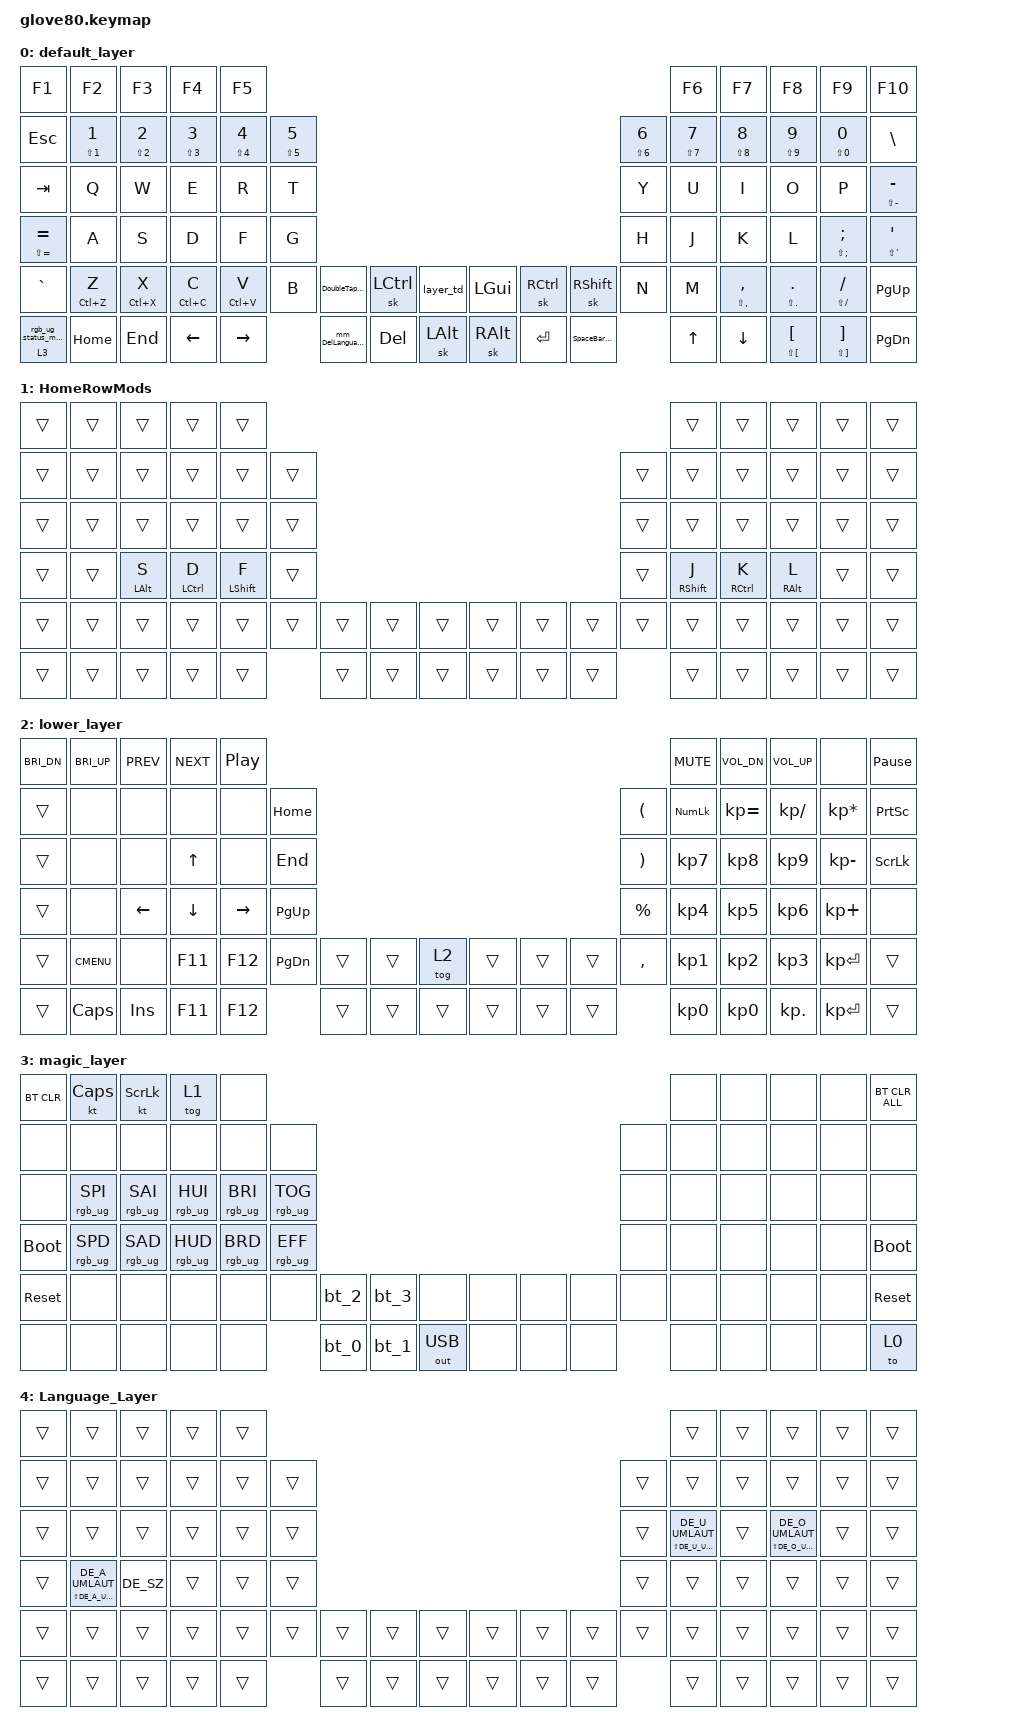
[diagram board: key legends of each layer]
/*
 * Copyright (c) 2020 The ZMK Contributors
 *
 * SPDX-License-Identifier: MIT
 */

#include <dt-bindings/zmk/rgb_colors.h>
#include <behaviors/unicode.dtsi>
#include <behaviors.dtsi>
#include <dt-bindings/zmk/bt.h>
#include <dt-bindings/zmk/keys.h>
#include <dt-bindings/zmk/outputs.h>
#include <dt-bindings/zmk/rgb.h>
#include "keys_de.h"

#define HYPER LC(LS(LG(LALT)))

&uc {
    default-mode = <UC_MODE_WIN_COMPOSE>;  // Replace with desired input system.
};

// layers

#define DEFAULT 0
#define HRM 1
#define LOWER 2
#define MAGIC 3
#define LANGUAGE 4

/* To deal with the situation where there is no Lower layer, to keep &lower happy */

#ifndef LAYER_Lower

#define LAYER_Lower 0

#endif

/* Custom Device-tree */
/* Empty underglow layer definition (for copy-paste)
        mylayer {
            bindings = <
                &ug ___ &ug ___ &ug ___ &ug ___ &ug ___                                                                  &ug ___ &ug ___ &ug ___ &ug ___ &ug ___
                &ug ___ &ug ___ &ug ___ &ug ___ &ug ___ &ug ___                                                  &ug ___ &ug ___ &ug ___ &ug ___ &ug ___ &ug ___
                &ug ___ &ug ___ &ug ___ &ug ___ &ug ___ &ug ___                                                  &ug ___ &ug ___ &ug ___ &ug ___ &ug ___ &ug ___
                &ug ___ &ug ___ &ug ___ &ug ___ &ug ___ &ug ___                                                  &ug ___ &ug ___ &ug ___ &ug ___ &ug ___ &ug ___
                &ug ___ &ug ___ &ug ___ &ug ___ &ug ___ &ug ___ &ug ___ &ug ___ &ug ___  &ug ___ &ug ___ &ug ___ &ug ___ &ug ___ &ug ___ &ug ___ &ug ___ &ug ___
                &ug ___ &ug ___ &ug ___ &ug ___ &ug ___         &ug ___ &ug ___ &ug ___  &ug ___ &ug ___ &ug ___         &ug ___ &ug ___ &ug ___ &ug ___ &ug ___
                >;
            layer-id = <LAYER_Name>;
        };
*/

#define LBAT &uglowbat 0x800000 BLACK // #800000
#define BAT1 &ug_b2 BLACK 0x804d00 // #808000
#define BAT2 &ug_b4 BLACK 0x808000 // #804d00
#define BAT3 &ug_b6 BLACK 0x008000 // #008000
#define BAT4 &ug_b8 BLACK 0xafafaf // #afafaf
#define CAPSL &ug_cl ___ TEAL
#define NUMI  &ug_nl WHITE ORANGE
#define NUML  &ug_nl RED YELLOW

/ {
    underglow-layer {
        compatible = "zmk,underglow-layer";

        base {
            bindings = <
    &ug ___ &ug ___ &ug ___  &ug ___  &ug ___                                                                &ug ___  &ug ___  &ug ___  &ug ___  &ug ___
    &ug ___ CAPSL   CAPSL    CAPSL    CAPSL    CAPSL                                                  CAPSL  CAPSL    CAPSL    CAPSL    CAPSL    &ug ___
    &ug ___ CAPSL   CAPSL    CAPSL    CAPSL    CAPSL                                                  CAPSL  CAPSL    CAPSL    CAPSL    &ug ___  &ug ___
    &ug ___ CAPSL   CAPSL    CAPSL    CAPSL    CAPSL                                                  CAPSL  CAPSL    CAPSL    CAPSL    CAPSL    &ug ___
    &ug ___ CAPSL   CAPSL    CAPSL    CAPSL    CAPSL &ug ___ &ug ___ &ug ___  &ug ___ &ug ___ &ug ___ CAPSL  CAPSL    &ug ___  &ug ___  &ug ___  &ug ___
    LBAT    &ug ___ &ug ___  &ug ___  &ug ___        &ug ___ &ug ___ &ug ___  &ug ___ &ug ___ &ug ___        &ug ___  &ug ___  &ug ___  &ug ___  LBAT
            >;

            layer-id = <DEFAULT>;
        };

        hrm {
            bindings = <
                &ug BLUE &ug ___ &ug ___ &ug ___ &ug ___                                                                  &ug ___ &ug ___ &ug ___ &ug ___ &ug ___
                &ug ___ &ug ___ &ug ___ &ug ___ &ug ___ &ug ___                                                  &ug ___ &ug ___ &ug ___ &ug ___ &ug ___ &ug ___
                &ug ___ &ug ___ &ug ___ &ug ___ &ug ___ &ug ___                                                  &ug ___ &ug ___ &ug ___ &ug ___ &ug ___ &ug ___
                &ug ___ &ug ___ &ug ___ &ug ___ &ug ___ &ug ___                                                  &ug ___ &ug ___ &ug ___ &ug ___ &ug ___ &ug ___
                &ug ___ &ug ___ &ug ___ &ug ___ &ug ___ &ug ___ &ug ___ &ug ___ &ug ___  &ug ___ &ug ___ &ug ___ &ug ___ &ug ___ &ug ___ &ug ___ &ug ___ &ug ___
                &ug ___ &ug ___ &ug ___ &ug ___ &ug ___         &ug ___ &ug ___ &ug ___  &ug ___ &ug ___ &ug ___         &ug ___ &ug ___ &ug ___ &ug ___ &ug ___
            >;

            layer-id = <HRM>;
        };

        lower {
            bindings = <
    &ug ___    &ug ___  &ug ___    &ug ___    &ug ___                                                                                 &ug ___  &ug ___     &ug ___    &ug ___     &ug ___
    &ug PURPLE &ug PINK &ug PINK   &ug   PINK &ug   PINK &ug PINK                                                             &ug ___ NUMI     &ug ORANGE  &ug ORANGE &ug ORANGE  &ug RED
    &ug PURPLE &ug ___  &ug ___    &ug ORANGE &ug ___    &ug ___                                                              &ug ___ NUML     NUML        NUML       &ug ORANGE  &ug ___
    &ug PURPLE &ug ___  &ug ORANGE &ug    RED &ug ORANGE &ug ___                                                              &ug ___ NUML     NUML        NUML       &ug ORANGE  &ug ___
    &ug   BLUE &ug ___  &ug RED    &ug    RED &ug    RED &ug ___  &ug_cl BLUE TEAL &ug ___   &ug ___  &ug ___ &ug ___ &ug ___ &ug ___ NUML     NUML        NUML       &ug    RED  &ug BLUE
    &ug ___    &ug ___  &ug ORANGE &ug ORANGE &ug ORANGE          &ug ___          &ug GREEN &ug ___  &ug ___ &ug ___ &ug ___         NUML     NUML        &ug ORANGE &ug    RED  &ug ___
            >;

            layer-id = <LOWER>;
        };

        languageLayer {
            bindings = <
                &ug ___ &ug ___ &ug ___ &ug ___ &ug ___                                                                  &ug ___ &ug ___ &ug ___ &ug ___ &ug ___
                &ug ___ &ug ___ &ug ___ &ug ___ &ug ___ &ug ___                                                  &ug ___ &ug ___ &ug ___ &ug ___ &ug ___ &ug ___
                &ug ___ &ug ___ &ug ___ &ug ___ &ug ___ &ug ___                                                  &ug ___ &ug RED &ug ___ &ug RED &ug ___ &ug ___
                &ug ___ &ug RED &ug RED &ug ___ &ug ___ &ug ___                                                  &ug ___ &ug ___ &ug ___ &ug ___ &ug ___ &ug ___
                &ug ___ &ug ___ &ug ___ &ug ___ &ug ___ &ug ___ &ug ___ &ug ___ &ug ___  &ug ___ &ug ___ &ug ___ &ug ___ &ug ___ &ug ___ &ug ___ &ug ___ &ug ___
                &ug ___ &ug ___ &ug ___ &ug ___ &ug ___         &ug ___ &ug ___ &ug ___  &ug ___ &ug ___ &ug ___         &ug ___ &ug ___ &ug ___ &ug ___ &ug ___
            >;

            layer-id = <LANGUAGE>;
        };
    };
};

&sk { quick-release; };

/ {
    behaviors {
        // For the "layer" key, it'd nice to be able to use it as either a shift or a toggle.
        // Configure it as a tap dance, so the first tap (or hold) is a &mo and the second tap is a &to

        layer_td: tap_dance_0 {
            compatible = "zmk,behavior-tap-dance";
            label = "LAYER_TAP_DANCE";
            #binding-cells = <0>;
            tapping-term-ms = <350>;
            bindings = <&mo 2>, <&to 2>;
        };

        magic: magic_hold_tap {
            compatible = "zmk,behavior-hold-tap";
            label = "MAGIC_HOLD_TAP";
            #binding-cells = <2>;
            flavor = "tap-preferred";
            tapping-term-ms = <200>;
            bindings = <&mo>, <&rgb_ug_status_macro>;
        };

        DoubleTapShift: DoubleTapShift {
            compatible = "zmk,behavior-tap-dance";
            label = "DOUBLETAPSHIFT";
            #binding-cells = <0>;
            bindings = <&sk LEFT_SHIFT>, <&caps_word>, <&kt CAPSLOCK>;

            tapping-term-ms = <500>;
        };

        SpaceBarTapDance: SpaceBarTapDance {
            compatible = "zmk,behavior-tap-dance";
            label = "SPACEBARTAPDANCE";
            #binding-cells = <0>;
            bindings = <&kp SPACE>, <&double_space_period>;
        };

        ShiftHold: ShiftHold {
            compatible = "zmk,behavior-hold-tap";
            label = "SHIFTHOLD";
            bindings = <&shiftPressKey>, <&kp>;

            #binding-cells = <2>;
            tapping-term-ms = <300>;
            quick-tap-ms = <175>;
            require-prior-idle-ms = <100>;
            flavor = "balanced";
        };

        uglowbat: uglowbat {
            compatible = "zmk,behavior-underglow-battery";
            threshold = <30>;
            #binding-cells = <2>;
        };

        layerHoldTap: layerHoldTap {
            compatible = "zmk,behavior-hold-tap";
            label = "LAYERHOLDTAP";
            #binding-cells = <2>;
            flavor = "tap-preferred";
            tapping-term-ms = <200>;
            bindings = <&mo>, <&kp>;
        };

        HRM_Left: HRM_Left {
            compatible = "zmk,behavior-hold-tap";
            label = "HRM_LEFT";
            bindings = <&kp>, <&kp>;

            #binding-cells = <2>;
            flavor = "balanced";
            tapping-term-ms = <500>;
            quick-tap-ms = <175>;
            require-prior-idle-ms = <150>;
            hold-trigger-on-release;
            hold-trigger-key-positions = <58 40 28 16 17 29 5 6 7 8 9 17 18 19 20 21 29 30 31 32 33 41 42 43 44 45 59 60 61 62 63 75 76 77 55 56 72 73 74 78 79 57>;
        };

        HRM_Right: HRM_Right {
            compatible = "zmk,behavior-hold-tap";
            label = "HRM_RIGHT";
            bindings = <&kp>, <&kp>;

            #binding-cells = <2>;
            flavor = "balanced";
            tapping-term-ms = <500>;
            quick-tap-ms = <175>;
            require-prior-idle-ms = <150>;
            hold-trigger-on-release;
            hold-trigger-key-positions = <0 1 2 3 4 10 11 12 13 14 15 22 23 24 25 26 27 34 35 36 37 38 39 46 47 48 49 50 51 52 53 54 64 65 66 67 68 69 70 71>;
        };

        mm_DelLanguageLayer: mm_DelLanguageLayer {
            compatible = "zmk,behavior-mod-morph";
            label = "MM_DELLANGUAGELAYER";
            bindings = <&DeleteTD>, <&sl 4>;

            #binding-cells = <0>;
            mods = <(MOD_RSFT|MOD_RALT)>;
            keep-mods = <(MOD_RSFT)>;
        };

        DeleteTD: DeleteTD {
            compatible = "zmk,behavior-tap-dance";
            label = "DELETETD";
            #binding-cells = <0>;
            bindings = <&kp BACKSPACE>, <&kp LC(BACKSPACE)>;
        };
    };

    macros {
        rgb_ug_status_macro: rgb_ug_status_macro_0 {
            label = "RGB_UG_STATUS";
            compatible = "zmk,behavior-macro";
            #binding-cells = <0>;
            bindings = <&rgb_ug RGB_STATUS>;
        };

        bt_0: bt_profile_macro_0 {
            label = "BT_0";
            compatible = "zmk,behavior-macro";
            #binding-cells = <0>;
            bindings = <&out OUT_BLE &bt BT_SEL 0>;
        };

        bt_1: bt_profile_macro_1 {
            label = "BT_1";
            compatible = "zmk,behavior-macro";
            #binding-cells = <0>;
            bindings = <&out OUT_BLE &bt BT_SEL 1>;
        };

        bt_2: bt_profile_macro_2 {
            label = "BT_2";
            compatible = "zmk,behavior-macro";
            #binding-cells = <0>;
            bindings = <&out OUT_BLE &bt BT_SEL 2>;
        };

        bt_3: bt_profile_macro_3 {
            label = "BT_3";
            compatible = "zmk,behavior-macro";
            #binding-cells = <0>;
            bindings = <&out OUT_BLE &bt BT_SEL 3>;
        };

        double_space_period: double_space_period {
            compatible = "zmk,behavior-macro";
            #binding-cells = <0>;
            bindings = <&kp DOT &kp SPACE &sk LSHIFT>;
            label = "DOUBLE_SPACE_PERIOD";
        };

        shiftPressKey: shiftPressKey {
            compatible = "zmk,behavior-macro-one-param";
            #binding-cells = <1>;
            bindings = <&macro_param_1to1 &kp MACRO_PLACEHOLDER>;
            label = "SHIFTPRESSKEY";
        };
    };

    combos {
        compatible = "zmk,combos";

        CapLock {
            bindings = <&kt CAPSLOCK>;
            key-positions = <52 57>;
            timeout-ms = <50>;
            layers = <0>;
        };

        f11_Alt {
            bindings = <&kp F11>;
            key-positions = <8 20>;
            layers = <0>;
            timeout-ms = <50>;
        };

        f12_Alt {
            bindings = <&kp F12>;
            key-positions = <9 21>;
            timeout-ms = <50>;
            layers = <0>;
        };
    };

    /* #define for key positions */

    #define POS_LH_T1 52
#define POS_LH_T2 53
#define POS_LH_T3 54
#define POS_LH_T4 69
#define POS_LH_T5 70
#define POS_LH_T6 71
#define POS_LH_C1R2 15
#define POS_LH_C1R3 27
#define POS_LH_C1R4 39
#define POS_LH_C1R5 51
#define POS_LH_C2R1 4
#define POS_LH_C2R2 14
#define POS_LH_C2R3 26
#define POS_LH_C2R4 38
#define POS_LH_C2R5 50
#define POS_LH_C2R6 68
#define POS_LH_C3R1 3
#define POS_LH_C3R2 13
#define POS_LH_C3R3 25
#define POS_LH_C3R4 37
#define POS_LH_C3R5 49
#define POS_LH_C3R6 67
#define POS_LH_C4R1 2
#define POS_LH_C4R2 12
#define POS_LH_C4R3 24
#define POS_LH_C4R4 36
#define POS_LH_C4R5 48
#define POS_LH_C4R6 66
#define POS_LH_C5R1 1
#define POS_LH_C5R2 11
#define POS_LH_C5R3 23
#define POS_LH_C5R4 35
#define POS_LH_C5R5 47
#define POS_LH_C5R6 65
#define POS_LH_C6R1 0
#define POS_LH_C6R2 10
#define POS_LH_C6R3 22
#define POS_LH_C6R4 34
#define POS_LH_C6R5 46
#define POS_LH_C6R6 64
#define POS_RH_T1 57
#define POS_RH_T2 56
#define POS_RH_T3 55
#define POS_RH_T4 74
#define POS_RH_T5 73
#define POS_RH_T6 72
#define POS_RH_C1R2 16
#define POS_RH_C1R3 28
#define POS_RH_C1R4 40
#define POS_RH_C1R5 58
#define POS_RH_C2R1 5
#define POS_RH_C2R2 17
#define POS_RH_C2R3 29
#define POS_RH_C2R4 41
#define POS_RH_C2R5 59
#define POS_RH_C2R6 75
#define POS_RH_C3R1 6
#define POS_RH_C3R2 18
#define POS_RH_C3R3 30
#define POS_RH_C3R4 42
#define POS_RH_C3R5 60
#define POS_RH_C3R6 76
#define POS_RH_C4R1 7
#define POS_RH_C4R2 19
#define POS_RH_C4R3 31
#define POS_RH_C4R4 43
#define POS_RH_C4R5 61
#define POS_RH_C4R6 77
#define POS_RH_C5R1 8
#define POS_RH_C5R2 20
#define POS_RH_C5R3 32
#define POS_RH_C5R4 44
#define POS_RH_C5R5 62
#define POS_RH_C5R6 78
#define POS_RH_C6R1 9
#define POS_RH_C6R2 21
#define POS_RH_C6R3 33
#define POS_RH_C6R4 45
#define POS_RH_C6R5 63
#define POS_RH_C6R6 79

    keymap {
        compatible = "zmk,keymap";

        default_layer {
            // ---------------------------------------------------------------------------------------------------------------------------------
            // |  F1   |  F2 |  F3 |  F4  |  F5  |                                                               |  F6   |  F7   |  F8  |   F9  |  F10 |
            // |  =    |  1  |  2  |  3   |  4   |  5   |                                                 |  6   |   7   |   8   |  9   |   0   |   -  |
            // |  TAB  |  Q  |  W  |  E   |  R   |  T   |                                                 |  Y   |   U   |   I   |  O   |   P   |   \  |
            // |  ESC  |  A  |  S  |  D   |  F   |  G   |                                                 |  H   |   J   |   K   |  L   |   ;   |   '  |
            // |   `   |  Z  |  X  |  C   |  V   |  B   | LSHFT | LCTRL | LOWER | | LGUI  | RCTRL | RSHFT |  N   |   M   |   ,   |  .   |   /   | PGUP |
            // | MAGIC | HOME| END | LEFT | RIGHT|      | BSPC  | DEL   | LALT  | | RALT  | RET   | SPACE |      |  UP   | DOWN  |  [   |   ]   | PGDN |

            bindings = <
&kp F1                      &kp F2                &kp F3                &kp F4                &kp F5                                                                                                                                                 &kp F6                &kp F7                      &kp F8                    &kp F9                    &kp F10
&kp ESC                     &ShiftHold LS(N1) N1  &ShiftHold LS(N2) N2  &ShiftHold LS(N3) N3  &ShiftHold LS(N4) N4  &ShiftHold LS(N5) N5                                                                                       &ShiftHold LS(N6) N6  &ShiftHold LS(N7) N7  &ShiftHold LS(N8) N8        &ShiftHold LS(N9) N9      &ShiftHold LS(N0) N0      &kp BACKSLASH
&kp TAB                     &kp Q                 &kp W                 &kp E                 &kp R                 &kp T                                                                                                      &kp Y                 &kp U                 &kp I                       &kp O                     &kp P                     &ShiftHold LS(MINUS) MINUS
&ShiftHold LS(EQUAL) EQUAL  &kp A                 &kp S                 &kp D                 &kp F                 &kp G                                                                                                      &kp H                 &kp J                 &kp K                       &kp L                     &ShiftHold LS(SEMI) SEMI  &ShiftHold LS(SQT) SQT
&kp GRAVE                   &ShiftHold LC(Z) Z    &ShiftHold LC(X) X    &ShiftHold LC(C) C    &ShiftHold LC(V) V    &kp B                 &DoubleTapShift       &sk LCTRL  &layer_td  &kp LGUI  &sk RCTRL   &sk RSHFT          &kp N                 &kp M                 &ShiftHold LS(COMMA) COMMA  &ShiftHold LS(DOT) DOT    &ShiftHold LS(FSLH) FSLH  &kp PG_UP
&magic 3 0                  &kp HOME              &kp END               &kp LEFT              &kp RIGHT                                   &mm_DelLanguageLayer  &kp DEL    &sk LALT   &sk RALT  &kp RETURN  &SpaceBarTapDance                        &kp UP                &kp DOWN                    &ShiftHold LS(LBKT) LBKT  &ShiftHold LS(RBKT) RBKT  &kp PG_DN
            >;
        };

        HomeRowMods {
            bindings = <
&trans  &trans  &trans            &trans             &trans                                                                                  &trans               &trans              &trans                  &trans  &trans
&trans  &trans  &trans            &trans             &trans                  &trans                                                  &trans  &trans               &trans              &trans                  &trans  &trans
&trans  &trans  &trans            &trans             &trans                  &trans                                                  &trans  &trans               &trans              &trans                  &trans  &trans
&trans  &trans  &HRM_Left LALT S  &HRM_Left LCTRL D  &HRM_Left LEFT_SHIFT F  &trans                                                  &trans  &HRM_Right RSHIFT J  &HRM_Right RCTRL K  &HRM_Right RIGHT_ALT L  &trans  &trans
&trans  &trans  &trans            &trans             &trans                  &trans  &trans  &trans  &trans  &trans  &trans  &trans  &trans  &trans               &trans              &trans                  &trans  &trans
&trans  &trans  &trans            &trans             &trans                          &trans  &trans  &trans  &trans  &trans  &trans          &trans               &trans              &trans                  &trans  &trans
            >;
        };

        lower_layer {
            bindings = <
&kp C_BRI_DN  &kp C_BRI_UP  &kp C_PREV  &kp C_NEXT  &kp C_PP                                                                         &kp C_MUTE  &kp C_VOL_DN  &kp C_VOL_UP   &none            &kp PAUSE_BREAK
&trans        &none         &none       &none       &none      &kp HOME                                                   &kp LPAR   &kp KP_NUM  &kp KP_EQUAL  &kp KP_DIVIDE  &kp KP_MULTIPLY  &kp PSCRN
&trans        &none         &none       &kp UP      &none      &kp END                                                    &kp RPAR   &kp KP_N7   &kp KP_N8     &kp KP_N9      &kp KP_MINUS     &kp SLCK
&trans        &none         &kp LEFT    &kp DOWN    &kp RIGHT  &kp PG_UP                                                  &kp PRCNT  &kp KP_N4   &kp KP_N5     &kp KP_N6      &kp KP_PLUS      &none
&trans        &kp K_CMENU   &none       &kp F11     &kp F12    &kp PG_DN  &trans  &trans  &tog 2  &trans  &trans  &trans  &kp COMMA  &kp KP_N1   &kp KP_N2     &kp KP_N3      &kp KP_ENTER     &trans
&trans        &kp CAPS      &kp INS     &kp F11     &kp F12               &trans  &trans  &trans  &trans  &trans  &trans             &kp KP_N0   &kp KP_N0     &kp KP_DOT     &kp KP_ENTER     &trans
            >;
        };

        magic_layer {
            bindings = <
&bt BT_CLR   &kt CAPSLOCK     &kt SCROLLLOCK   &tog 1           &none                                                                                     &none  &none  &none  &none  &bt BT_CLR_ALL
&none        &none            &none            &none            &none            &none                                                             &none  &none  &none  &none  &none  &none
&none        &rgb_ug RGB_SPI  &rgb_ug RGB_SAI  &rgb_ug RGB_HUI  &rgb_ug RGB_BRI  &rgb_ug RGB_TOG                                                   &none  &none  &none  &none  &none  &none
&bootloader  &rgb_ug RGB_SPD  &rgb_ug RGB_SAD  &rgb_ug RGB_HUD  &rgb_ug RGB_BRD  &rgb_ug RGB_EFF                                                   &none  &none  &none  &none  &none  &bootloader
&sys_reset   &none            &none            &none            &none            &none            &bt_2  &bt_3  &none         &none  &none  &none  &none  &none  &none  &none  &none  &sys_reset
&none        &none            &none            &none            &none                             &bt_0  &bt_1  &out OUT_USB  &none  &none  &none         &none  &none  &none  &none  &to 0
            >;
        };

        Language_Layer {
            bindings = <
&trans  &trans                                  &trans     &trans  &trans                                                                  &trans                                  &trans  &trans                                  &trans  &trans
&trans  &trans                                  &trans     &trans  &trans  &trans                                                  &trans  &trans                                  &trans  &trans                                  &trans  &trans
&trans  &trans                                  &trans     &trans  &trans  &trans                                                  &trans  &ShiftHold LS(DE_U_UMLAUT) DE_U_UMLAUT  &trans  &ShiftHold LS(DE_O_UMLAUT) DE_O_UMLAUT  &trans  &trans
&trans  &ShiftHold LS(DE_A_UMLAUT) DE_A_UMLAUT  &kp DE_SZ  &trans  &trans  &trans                                                  &trans  &trans                                  &trans  &trans                                  &trans  &trans
&trans  &trans                                  &trans     &trans  &trans  &trans  &trans  &trans  &trans  &trans  &trans  &trans  &trans  &trans                                  &trans  &trans                                  &trans  &trans
&trans  &trans                                  &trans     &trans  &trans          &trans  &trans  &trans  &trans  &trans  &trans          &trans                                  &trans  &trans                                  &trans  &trans
            >;
        };
    };
};
